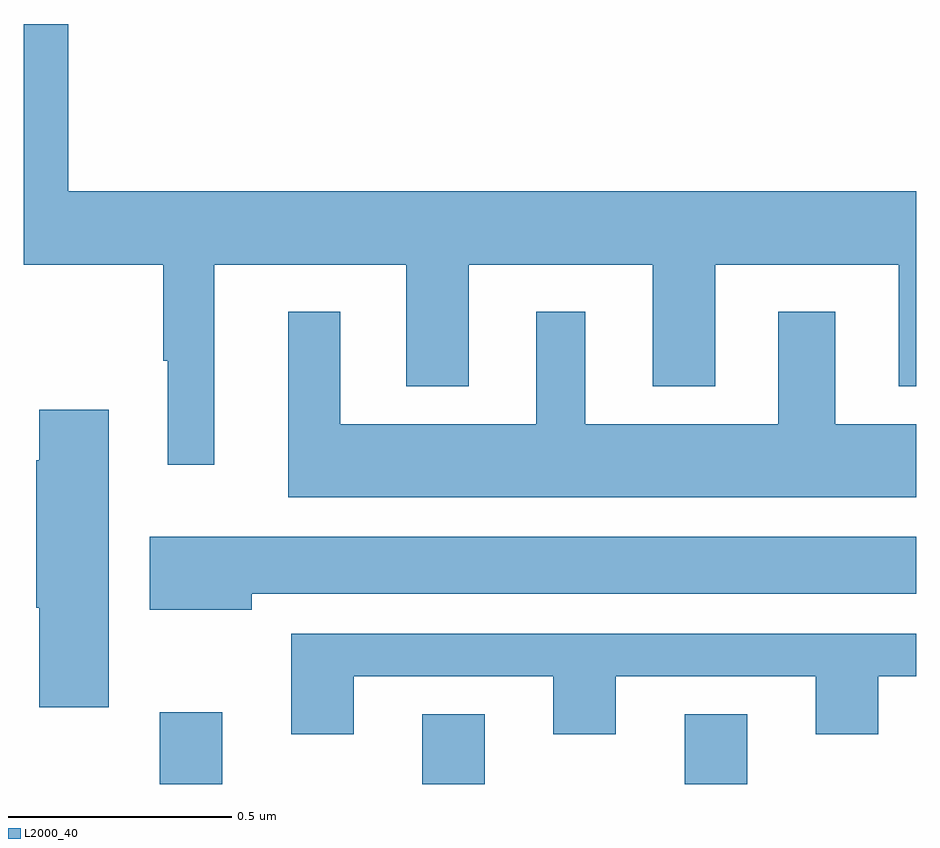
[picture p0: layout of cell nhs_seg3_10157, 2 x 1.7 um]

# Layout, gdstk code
import gdstk
lib = gdstk.Library(unit=1e-6, precision=1e-09)
def R(c, l, rs):  # rectangles x0, y0, x1, y1
    for r in rs: c.add(gdstk.rectangle(r[:2], r[2:], *l))
def P(c, l, *ps):  # polygons
    for p in ps: c.add(gdstk.Polygon(p, *l))
L2000_40 = (2000, 40)

nhs_seg3_10157 = lib.new_cell('nhs_seg3_10157')
R(nhs_seg3_10157, L2000_40, [(237.305,718.4,237.445,718.561), (237.893,718.4,238.033,718.556), (238.481,718.4,238.621,718.556)])
P(nhs_seg3_10157, L2000_40, [(237.427,719.564),(237.857,719.564),(237.857,719.291),(237.997,719.291),(237.997,719.564),(238.409,719.564),(238.409,719.291),(238.549,719.291),(238.549,719.564),(238.961,719.564),(238.961,719.291),(239,719.291),(239,719.728),(237.1,719.728),(237.1,720.103),(237,720.103),(237,719.564),(237.313,719.564),(237.313,719.348),(237.323,719.348),(237.323,719.115),(237.427,719.115)],
  [(239,719.206),(238.819,719.206),(238.819,719.458),(238.691,719.458),(238.691,719.206),(238.258,719.206),(238.258,719.458),(238.148,719.458),(238.148,719.206),(237.709,719.206),(237.709,719.458),(237.593,719.458),(237.593,719.042),(239,719.042)],
  [(237.19,719.239),(237.035,719.239),(237.035,719.126),(237.028,719.126),(237.028,718.795),(237.035,718.795),(237.035,718.572),(237.19,718.572)],
  [(237.511,718.826),(239,718.826),(239,718.954),(237.282,718.954),(237.282,718.79),(237.511,718.79)],
  [(237.739,718.641),(238.187,718.641),(238.187,718.512),(238.327,718.512),(238.327,718.641),(238.775,718.641),(238.775,718.512),(238.915,718.512),(238.915,718.641),(239,718.641),(239,718.737),(237.599,718.737),(237.599,718.512),(237.739,718.512)])

lib.write_gds('nhs_seg3_10157.gds')
